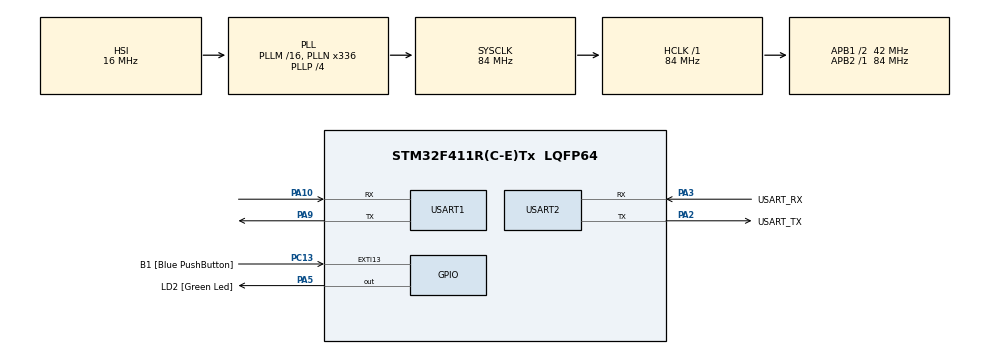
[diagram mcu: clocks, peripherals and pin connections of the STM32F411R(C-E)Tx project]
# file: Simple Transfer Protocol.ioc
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Mcu.Family=STM32F4
Mcu.Name=STM32F411R(C-E)Tx
Mcu.Package=LQFP64
NVIC.PriorityGroup=NVIC_PRIORITYGROUP_0
NVIC.USART1_IRQn=true\:0\:0\:false\:false\:true\:true\:true\:true
PA10.Mode=Asynchronous
PA10.Signal=USART1_RX
PA13.GPIO_Label=TMS
PA13.Mode=Serial_Wire
PA13.Signal=SYS_JTMS-SWDIO
PA14.GPIO_Label=TCK
PA14.Mode=Serial_Wire
PA14.Signal=SYS_JTCK-SWCLK
PA2.GPIO_Label=USART_TX
PA2.Mode=Asynchronous
PA2.Signal=USART2_TX
PA3.GPIO_Label=USART_RX
PA3.Mode=Asynchronous
PA3.Signal=USART2_RX
PA5.GPIO_Label=LD2 [Green Led]
PA5.Signal=GPIO_Output
PA9.Mode=Asynchronous
PA9.Signal=USART1_TX
PB3.GPIO_Label=SWO
PB3.Signal=SYS_JTDO-SWO
PC13-ANTI_TAMP.GPIO_Label=B1 [Blue PushButton]
PC13-ANTI_TAMP.GPIO_ModeDefaultEXTI=GPIO_MODE_IT_FALLING
PC13-ANTI_TAMP.Signal=GPXTI13
PC14-OSC32_IN.Mode=LSE-External-Oscillator
PC14-OSC32_IN.Signal=RCC_OSC32_IN
PC15-OSC32_OUT.Mode=LSE-External-Oscillator
PC15-OSC32_OUT.Signal=RCC_OSC32_OUT
PH0\ -\ OSC_IN.Mode=HSE-External-Clock-Source
PH0\ -\ OSC_IN.Signal=RCC_OSC_IN
PH1\ -\ OSC_OUT.Mode=HSE-External-Clock-Source
PH1\ -\ OSC_OUT.Signal=RCC_OSC_OUT
ProjectManager.HeapSize=0x200
ProjectManager.StackSize=0x400
ProjectManager.TargetToolchain=STM32CubeIDE
RCC.48MHZClocksFreq_Value=84000000
RCC.AHBFreq_Value=84000000
RCC.APB1CLKDivider=RCC_HCLK_DIV2
RCC.APB1Freq_Value=42000000
RCC.APB1TimFreq_Value=84000000
RCC.APB2Freq_Value=84000000
RCC.APB2TimFreq_Value=84000000
RCC.CortexFreq_Value=84000000
RCC.FLatency-AdvancedSettings=FLASH_LATENCY_2
RCC.HCLKFreq_Value=84000000
RCC.HSE_VALUE=8000000
RCC.HSI_VALUE=16000000
RCC.PLLN=336
RCC.PLLP=RCC_PLLP_DIV4
RCC.SYSCLKFreq_VALUE=84000000
RCC.SYSCLKSource=RCC_SYSCLKSOURCE_PLLCLK
RCC.VCOOutputFreq_Value=336000000
USART1.VirtualMode=VM_ASYNC
USART2.VirtualMode=VM_ASYNC
VP_CRC_VS_CRC.Mode=CRC_Activate
board=NUCLEO-F411RE

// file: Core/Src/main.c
/* USER CODE BEGIN Header */
/**
  ******************************************************************************
  * @file           : main.c
  * @brief          : Main program body
  ******************************************************************************
  * @attention
  *
  * Copyright (c) 2023 STMicroelectronics.
  * All rights reserved.
  *
  * This software is licensed under terms that can be found in the LICENSE file
  * in the root directory of this software component.
  * If no LICENSE file comes with this software, it is provided AS-IS.
  *
  ******************************************************************************
  */
/* USER CODE END Header */
#include "main.h"

/* USER CODE BEGIN Includes */
#include "STP.h"

/* USER CODE END Includes */

/* USER CODE BEGIN PM */
int a =0;
int b =0;
/* USER CODE END PM */

CRC_HandleTypeDef hcrc;

UART_HandleTypeDef huart1;
UART_HandleTypeDef huart2;

void SystemClock_Config(void);
static void MX_GPIO_Init(void);
static void MX_USART2_UART_Init(void);
static void MX_CRC_Init(void);
static void MX_USART1_UART_Init(void);
/* USER CODE BEGIN PFP */

uint8_t RegData[MAX_DATA_LENGHT]={1,2,3,4,5,6,7,8,9,10,
								  11,12,13,14,15,16,17,18,19,20,
								  21,22,23,24,25,26,27,28,29,30,31,32};

int8_t Reg_Data[MAX_DATA_LENGHT]={0,0,0,0,0,0,0,0,0,0,
								  0,0,0,0,0,0,0,0,0,0,
								  0,0,0,0,0,0,0,0,0,0,0,0};

int8_t Reg_Data1[MAX_DATA_LENGHT]={43,44,45,46,47,48,49,50,51,52,
								  0,0,0,0,0,0,0,0,0,0,
								  0,0,0,0,0,0,0,0,0,0,0,0};
STP_MASTER_Typedef STP;

uint8_t Receive_Completed = 0;
uint8_t Response_Ready = 0;
uint8_t transmit_buffer[MAX_DATA_LENGHT+8];
uint8_t receive_buffer[MAX_DATA_LENGHT+8];

void datacallback_Master(STP_RESPONS_FROM_SLAVE_Typedef STP){
	Master_Register_Write((int8_t *)STP.Data, REGISTER_GROUP_1 );

	Response_Ready = 0;
	Receive_Completed = 0;

	;}
void errorcllback_Master(STP_RESPONS_FROM_SLAVE_Typedef STP){
	Receive_Completed = 0;
}

/* USER CODE END PFP */

int main(void)
{

  /* MCU Configuration--------------------------------------------------------*/

  /* Reset of all peripherals, Initializes the Flash interface and the Systick. */
  HAL_Init();

  /* Configure the system clock */
  SystemClock_Config();

  /* Initialize all configured peripherals */
  MX_GPIO_Init();
  MX_USART2_UART_Init();
  MX_CRC_Init();
  MX_USART1_UART_Init();
  /* USER CODE BEGIN 2 */

  Init_STP_Master(&STP, &datacallback_Master, &errorcllback_Master);
  //Master_Frame_Packer_Write_Req(&STP, REGISTER_GROUP_1, 1, 3, 5, Reg_Data1);//3. adresten 5. adresi kadar dğişken içindeki veriyi yaz.
  //Frame_Packer_Read_Req(&STP,REGISTER_GROUP_1,1,0,5,Reg_Data);
 // memcpy(rawdata,STP.Sender_Frame,MAX_DATA_LENGHT+8);

  /* USER CODE END 2 */

  /* Infinite loop */
  /* USER CODE BEGIN WHILE */
  while (1)
  {

	  if((HAL_GPIO_ReadPin(B1_GPIO_Port, B1_Pin)==0) & (Response_Ready==0) & (Receive_Completed == 0)){

		  Master_Frame_Packer_Read_Req(&STP, REGISTER_GROUP_1, 1);

		  HAL_UART_Transmit_IT(&huart1, (uint8_t*)STP.Sender_Frame, MAX_DATA_LENGHT+8);

		  Response_Ready = 1;

	  }

	  if (Receive_Completed){

		  Master_Frame_Depacker(&STP, (uint8_t *)receive_buffer);

	  }

    /* USER CODE END WHILE */

  }
}

void SystemClock_Config(void)
{
  RCC_OscInitTypeDef RCC_OscInitStruct = {0};
  RCC_ClkInitTypeDef RCC_ClkInitStruct = {0};

  /** Configure the main internal regulator output voltage
  */
  __HAL_RCC_PWR_CLK_ENABLE();
  __HAL_PWR_VOLTAGESCALING_CONFIG(PWR_REGULATOR_VOLTAGE_SCALE1);

  /** Initializes the RCC Oscillators according to the specified parameters
  * in the RCC_OscInitTypeDef structure.
  */
  RCC_OscInitStruct.OscillatorType = RCC_OSCILLATORTYPE_HSI;
  RCC_OscInitStruct.HSIState = RCC_HSI_ON;
  RCC_OscInitStruct.HSICalibrationValue = RCC_HSICALIBRATION_DEFAULT;
  RCC_OscInitStruct.PLL.PLLState = RCC_PLL_ON;
  RCC_OscInitStruct.PLL.PLLSource = RCC_PLLSOURCE_HSI;
  RCC_OscInitStruct.PLL.PLLM = 16;
  RCC_OscInitStruct.PLL.PLLN = 336;
  RCC_OscInitStruct.PLL.PLLP = RCC_PLLP_DIV4;
  RCC_OscInitStruct.PLL.PLLQ = 4;
  if (HAL_RCC_OscConfig(&RCC_OscInitStruct) != HAL_OK)
  {
    Error_Handler();
  }

  /** Initializes the CPU, AHB and APB buses clocks
  */
  RCC_ClkInitStruct.ClockType = RCC_CLOCKTYPE_HCLK|RCC_CLOCKTYPE_SYSCLK
                              |RCC_CLOCKTYPE_PCLK1|RCC_CLOCKTYPE_PCLK2;
  RCC_ClkInitStruct.SYSCLKSource = RCC_SYSCLKSOURCE_PLLCLK;
  RCC_ClkInitStruct.AHBCLKDivider = RCC_SYSCLK_DIV1;
  RCC_ClkInitStruct.APB1CLKDivider = RCC_HCLK_DIV2;
  RCC_ClkInitStruct.APB2CLKDivider = RCC_HCLK_DIV1;

  if (HAL_RCC_ClockConfig(&RCC_ClkInitStruct, FLASH_LATENCY_2) != HAL_OK)
  {
    Error_Handler();
  }
}

static void MX_CRC_Init(void)
{

  hcrc.Instance = CRC;
  if (HAL_CRC_Init(&hcrc) != HAL_OK)
  {
    Error_Handler();
  }

}

static void MX_USART1_UART_Init(void)
{

  huart1.Instance = USART1;
  huart1.Init.BaudRate = 115200;
  huart1.Init.WordLength = UART_WORDLENGTH_8B;
  huart1.Init.StopBits = UART_STOPBITS_1;
  huart1.Init.Parity = UART_PARITY_NONE;
  huart1.Init.Mode = UART_MODE_TX_RX;
  huart1.Init.HwFlowCtl = UART_HWCONTROL_NONE;
  huart1.Init.OverSampling = UART_OVERSAMPLING_16;
  if (HAL_UART_Init(&huart1) != HAL_OK)
  {
    Error_Handler();
  }

}

static void MX_USART2_UART_Init(void)
{

  huart2.Instance = USART2;
  huart2.Init.BaudRate = 115200;
  huart2.Init.WordLength = UART_WORDLENGTH_8B;
  huart2.Init.StopBits = UART_STOPBITS_1;
  huart2.Init.Parity = UART_PARITY_NONE;
  huart2.Init.Mode = UART_MODE_TX_RX;
  huart2.Init.HwFlowCtl = UART_HWCONTROL_NONE;
  huart2.Init.OverSampling = UART_OVERSAMPLING_16;
  if (HAL_UART_Init(&huart2) != HAL_OK)
  {
    Error_Handler();
  }

}

static void MX_GPIO_Init(void)
{
  GPIO_InitTypeDef GPIO_InitStruct = {0};

  /* GPIO Ports Clock Enable */
  __HAL_RCC_GPIOC_CLK_ENABLE();
  __HAL_RCC_GPIOH_CLK_ENABLE();
  __HAL_RCC_GPIOA_CLK_ENABLE();
  __HAL_RCC_GPIOB_CLK_ENABLE();

  /*Configure GPIO pin Output Level */
  HAL_GPIO_WritePin(LD2_GPIO_Port, LD2_Pin, GPIO_PIN_RESET);

  /*Configure GPIO pin : B1_Pin */
  GPIO_InitStruct.Pin = B1_Pin;
  GPIO_InitStruct.Mode = GPIO_MODE_IT_FALLING;
  GPIO_InitStruct.Pull = GPIO_NOPULL;
  HAL_GPIO_Init(B1_GPIO_Port, &GPIO_InitStruct);

  /*Configure GPIO pin : LD2_Pin */
  GPIO_InitStruct.Pin = LD2_Pin;
  GPIO_InitStruct.Mode = GPIO_MODE_OUTPUT_PP;
  GPIO_InitStruct.Pull = GPIO_NOPULL;
  GPIO_InitStruct.Speed = GPIO_SPEED_FREQ_LOW;
  HAL_GPIO_Init(LD2_GPIO_Port, &GPIO_InitStruct);

}

/* USER CODE BEGIN 4 */
void HAL_UART_RxCpltCallback (UART_HandleTypeDef * husart){

	if (husart == &huart1){

		Receive_Completed=1;

	}

}

void HAL_UART_TxCpltCallback (UART_HandleTypeDef * husart){

	if (husart == &huart1){

		HAL_UART_Receive_IT(&huart1, receive_buffer, MAX_DATA_LENGHT+8);

		}

}
/* USER CODE END 4 */

void Error_Handler(void)
{
  __disable_irq();
  while (1)
  {
  }
}
